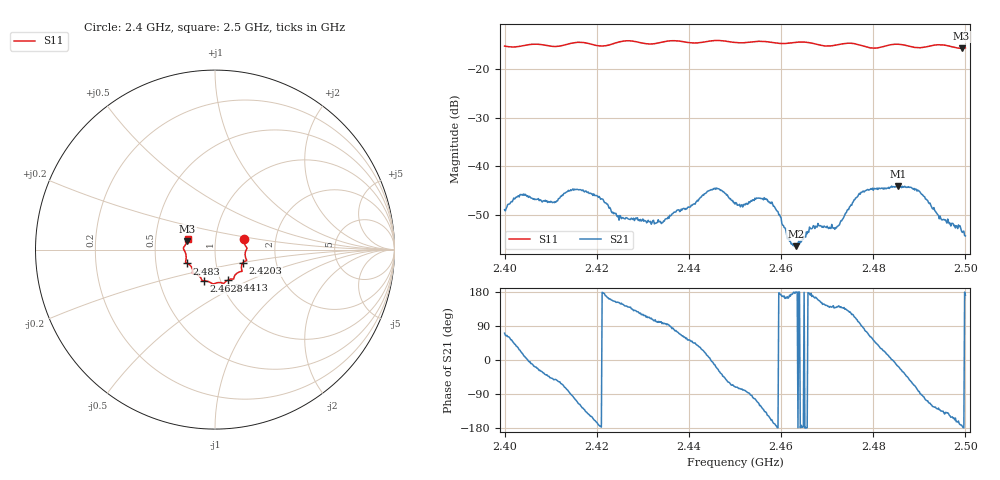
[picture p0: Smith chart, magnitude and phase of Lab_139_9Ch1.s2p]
# Hz S RI R 50
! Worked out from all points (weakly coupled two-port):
!   601 points, 2.4 GHz to 2.5 GHz, reference 50 ohm
!   highest |S21| = -44.00 dB at 2.4853 GHz (marker M1); lowest = -56.3 dB at 2.4632 GHz (marker M2)
!   lowest |S11| = -15.8 dB at 2.4992 GHz (marker M3), VSWR 1.39, Z = 36.4 + j3.53 ohm
!   |S11| at or under -10 dB: start of sweep to end of sweep
!   S12 and S22 are empty: the file has one direction only
!   S11 on the Smith chart (normalised r, x): 2.4 GHz: 1.37, +0.16; 2.4203 GHz: 1.35, -0.21; 2.4413 GHz: 1.09, -0.38; 2.4628 GHz: 0.83, -0.30; 2.483 GHz: 0.72, -0.11; 2.5 GHz: 0.73, +0.09
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2.4e9  0.1608 0.0569  0.00119 0.0034  0 0  0 0
2.403833e9  0.1707 0.0191  0.00494 0.00155  0 0  0 0
2.410667e9  0.1686 -0.0169  0.00265 -0.00341  0 0  0 0
2.416667e9  0.1763 -0.0614  -0.00311 -0.00479  0 0  0 0
2.420333e9  0.1554 -0.074  -0.00476 -0.000805  0 0  0 0
2.424833e9  0.1499 -0.114  -0.00248 0.00133  0 0  0 0
2.433333e9  0.1082 -0.1485  -0.000586 0.00279  0 0  0 0
2.441333e9  0.0744 -0.1681  0.0029 0.00291  0 0  0 0
2.445833e9  0.05 -0.1885  0.00554 -0.00181  0 0  0 0
2.45e9  0.0294 -0.1836  0.00138 -0.00388  0 0  0 0
2.456833e9  -0.0158 -0.1889  -0.0035 -0.00295  0 0  0 0
2.462833e9  -0.063 -0.1745  -0.0016 3.25e-05  0 0  0 0
2.463167e9  -0.065 -0.1746  -0.00153 2.27e-05  0 0  0 0
2.466667e9  -0.0741 -0.1676  -0.00225 0.000496  0 0  0 0
2.472e9  -0.1109 -0.1355  -0.00177 0.00154  0 0  0 0
2.477333e9  -0.124 -0.1217  -0.000174 0.00543  0 0  0 0
2.483e9  -0.1549 -0.0769  0.00579 0.00154  0 0  0 0
2.483333e9  -0.157 -0.0759  0.006 0.00117  0 0  0 0
2.485333e9  -0.1638 -0.0706  0.00606 -0.00176  0 0  0 0
2.489667e9  -0.1612 -0.0328  0.00102 -0.00565  0 0  0 0
2.499167e9  -0.155 0.0472  -0.00215 -0.000315  0 0  0 0
2.5e9  -0.1527 0.0584  -0.00192 0.00031  0 0  0 0
